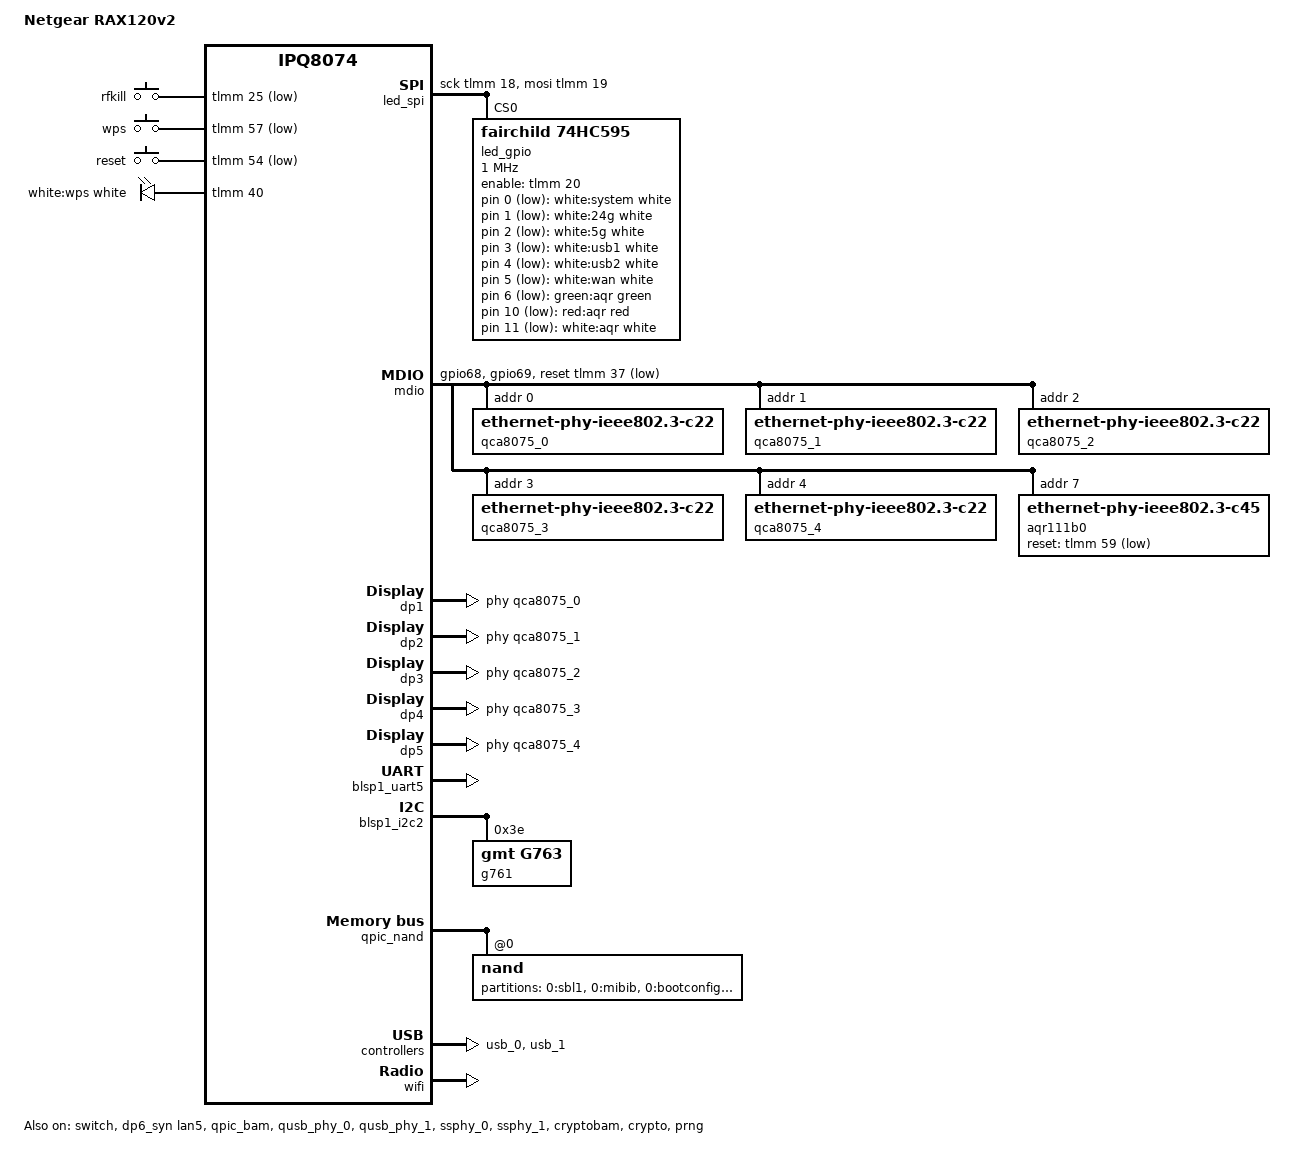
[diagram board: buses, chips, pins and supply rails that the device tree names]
// SPDX-License-Identifier: GPL-2.0-or-later OR MIT

/dts-v1/;

#include "ipq8074.dtsi"
#include "ipq8074-ess.dtsi"
#include "ipq8074-hk-cpu.dtsi"
#include "ipq8074-nss.dtsi"
#include <dt-bindings/input/input.h>
#include <dt-bindings/gpio/gpio.h>
#include <dt-bindings/leds/common.h>

/ {
	model = "Netgear RAX120v2";
	compatible = "netgear,rax120v2", "qcom,ipq8074";

	aliases {
		serial0 = &blsp1_uart5;

		led-running = &led_system_white;
		led-upgrade = &led_system_white;
		led-internet = &led_wan_white;
		label-mac-device = &dp1;
	};

	chosen {
		stdout-path = "serial0:115200n8";
		bootargs-append = " ubi.mtd=rootfs root=/dev/ubiblock0_0";
	};

	keys {
		compatible = "gpio-keys";

		rfkill {
			label = "rfkill";
			gpios = <&tlmm 25 GPIO_ACTIVE_LOW>;
			linux,code = <KEY_RFKILL>;
		};

		wps {
			label = "wps";
			gpios = <&tlmm 57 GPIO_ACTIVE_LOW>;
			linux,code = <KEY_WPS_BUTTON>;
		};

		reset {
			label = "reset";
			gpios = <&tlmm 54 GPIO_ACTIVE_LOW>;
			linux,code = <KEY_RESTART>;
		};
	};

	led_spi {
		compatible = "spi-gpio";
		#address-cells = <1>;
		#size-cells = <0>;

		sck-gpios = <&tlmm 18 GPIO_ACTIVE_HIGH>;
		mosi-gpios = <&tlmm 19 GPIO_ACTIVE_HIGH>;

		led_gpio: led_gpio@0 {
			compatible = "fairchild,74hc595";
			reg = <0>;
			gpio-controller;
			#gpio-cells = <2>;
			registers-number = <2>;
			enable-gpios = <&tlmm 20 GPIO_ACTIVE_HIGH>;
			spi-max-frequency = <1000000>;
		};
	};

	leds {
		compatible = "gpio-leds";

		led_system_white: system-white {
			label = "white:system";
			gpios = <&led_gpio 0 GPIO_ACTIVE_LOW>;
			color = <LED_COLOR_ID_WHITE>;
		};

		led_24g_white {
			label = "white:24g";
			gpios = <&led_gpio 1 GPIO_ACTIVE_LOW>;
			color = <LED_COLOR_ID_WHITE>;
			linux,default-trigger = "phy1radio";
		};

		led_5g_white {
			label = "white:5g";
			gpios = <&led_gpio 2 GPIO_ACTIVE_LOW>;
			color = <LED_COLOR_ID_WHITE>;
			linux,default-trigger = "phy0radio";
		};

		led_usb1_white {
			label = "white:usb1";
			gpios = <&led_gpio 3 GPIO_ACTIVE_LOW>;
			color = <LED_COLOR_ID_WHITE>;
		};

		led_usb2_white {
			label = "white:usb2";
			gpios = <&led_gpio 4 GPIO_ACTIVE_LOW>;
			color = <LED_COLOR_ID_WHITE>;
		};

		led_wan_white: wan-white {
			label = "white:wan";
			gpios = <&led_gpio 5 GPIO_ACTIVE_LOW>;
			color = <LED_COLOR_ID_WHITE>;
		};

		led_aqr_green {
			label = "green:aqr";
			gpios = <&led_gpio 6 GPIO_ACTIVE_LOW>;
			color = <LED_COLOR_ID_GREEN>;
		};

		led_aqr_red {
			label = "red:aqr";
			gpios = <&led_gpio 10 GPIO_ACTIVE_LOW>;
			color = <LED_COLOR_ID_RED>;
		};

		led_aqr_white {
			label = "white:aqr";
			gpios = <&led_gpio 11 GPIO_ACTIVE_LOW>;
			color = <LED_COLOR_ID_WHITE>;
		};

		led_wps_white {
			label = "white:wps";
			gpios = <&tlmm 40 GPIO_ACTIVE_HIGH>;
			color = <LED_COLOR_ID_WHITE>;
		};
	};
};

&tlmm {
	mdio_pins: mdio-pins {
		mdc {
			pins = "gpio68";
			function = "mdc";
			drive-strength = <8>;
			bias-pull-up;
		};

		mdio {
			pins = "gpio69";
			function = "mdio";
			drive-strength = <8>;
			bias-pull-up;
		};
	};
};

&mdio {
	status = "okay";

	pinctrl-0 = <&mdio_pins>;
	pinctrl-names = "default";
	reset-gpios = <&tlmm 37 GPIO_ACTIVE_LOW>;

	qca8075_0: ethernet-phy@0 {
		compatible = "ethernet-phy-ieee802.3-c22";
		reg = <0>;
	};

	qca8075_1: ethernet-phy@1 {
		compatible = "ethernet-phy-ieee802.3-c22";
		reg = <1>;
	};

	qca8075_2: ethernet-phy@2 {
		compatible = "ethernet-phy-ieee802.3-c22";
		reg = <2>;
	};

	qca8075_3: ethernet-phy@3 {
		compatible = "ethernet-phy-ieee802.3-c22";
		reg = <3>;
	};

	qca8075_4: ethernet-phy@4 {
		compatible = "ethernet-phy-ieee802.3-c22";
		reg = <4>;
	};

	aqr111b0: ethernet-phy@7 {
		compatible ="ethernet-phy-ieee802.3-c45";
		reg = <7>;
		reset-gpios = <&tlmm 59 GPIO_ACTIVE_LOW>;
	};
};

&switch {
	status = "okay";

	switch_lan_bmp = <0x3e>; /* lan port bitmap */
	switch_wan_bmp = <0x40>; /* wan port bitmap */
	switch_mac_mode = <0x0>; /* mac mode for uniphy instance0*/
	switch_mac_mode1 = <0xff>; /* mac mode for uniphy instance1*/
	switch_mac_mode2 = <0xd>; /* mac mode for uniphy instance2*/
	bm_tick_mode = <0>; /* bm tick mode */
	tm_tick_mode = <0>; /* tm tick mode */

	qcom,port_phyinfo {
		port@1 {
			port_id = <1>;
			phy_address = <0>;
		};
		port@2 {
			port_id = <2>;
			phy_address = <1>;
		};
		port@3 {
			port_id = <3>;
			phy_address = <2>;
		};
		port@4 {
			port_id = <4>;
			phy_address = <3>;
		};
		port@5 {
			port_id = <5>;
			phy_address = <4>;
		};
		port@6 {
			port_id = <6>;
			phy_address = <7>;
			compatible = "ethernet-phy-ieee802.3-c45";
			ethernet-phy-ieee802.3-c45;
		};
	};
};

&edma {
	status = "okay";
};

&dp1 {
	status = "okay";
	phy-handle = <&qca8075_0>;
	label = "lan4";
	nvmem-cells = <&macaddr_dp1>;
	nvmem-cell-names = "mac-address";
};

&dp2 {
	status = "okay";
	phy-handle = <&qca8075_1>;
	label = "lan3";
	nvmem-cells = <&macaddr_dp2>;
	nvmem-cell-names = "mac-address";
};

&dp3 {
	status = "okay";
	phy-handle = <&qca8075_2>;
	label = "lan2";
	nvmem-cells = <&macaddr_dp3>;
	nvmem-cell-names = "mac-address";
};

&dp4 {
	status = "okay";
	phy-handle = <&qca8075_3>;
	label = "lan1";
	nvmem-cells = <&macaddr_dp4>;
	nvmem-cell-names = "mac-address";
};

&dp5 {
	status = "okay";
	phy-handle = <&qca8075_4>;
	label = "wan";
	nvmem-cells = <&macaddr_dp5>;
	nvmem-cell-names = "mac-address";
};

&dp6_syn {
	status = "okay";
	phy-handle = <&aqr111b0>;
	label = "lan5";
	nvmem-cells = <&macaddr_dp6_syn>;
	nvmem-cell-names = "mac-address";
};

&blsp1_uart5 {
	status = "okay";
};

&blsp1_i2c2 {
	status = "okay";

	g761@3e {
		compatible = "gmt,g763";
		reg = <0x3e>;
		clocks =<&sleep_clk>;
		fan_gear_mode = <0>;
		fan_start = <1>;
		pwm_polarity = <0>;
	};
};

&qpic_bam {
	status = "okay";
};

&qpic_nand {
	status = "okay";

	nand@0 {
		reg = <0>;
		nand-ecc-strength = <4>;
		nand-ecc-step-size = <512>;
		nand-bus-width = <8>;

		partitions {
			compatible = "fixed-partitions";
			#address-cells = <1>;
			#size-cells = <1>;

			partition@0 {
				label = "0:sbl1";
				reg = <0x00 0x100000>;
				read-only;
			};

			partition@100000 {
				label = "0:mibib";
				reg = <0x100000 0x100000>;
				read-only;
			};

			partition@200000 {
				label = "0:bootconfig";
				reg = <0x200000 0x80000>;
				read-only;
			};

			partition@280000 {
				label = "0:bootconfig_1";
				reg = <0x280000 0x80000>;
				read-only;
			};

			partition@300000 {
				label = "0:qsee";
				reg = <0x300000 0x300000>;
				read-only;
			};

			partition@600000 {
				label = "0:qsee_1";
				reg = <0x600000 0x300000>;
				read-only;
			};

			partition@900000 {
				label = "0:devcfg";
				reg = <0x900000 0x80000>;
				read-only;
			};

			partition@980000 {
				label = "0:devcfg_1";
				reg = <0x980000 0x80000>;
				read-only;
			};

			partition@a00000 {
				label = "0:apdp";
				reg = <0xa00000 0x80000>;
				read-only;
			};

			partition@a80000 {
				label = "0:apdp_1";
				reg = <0xa80000 0x80000>;
				read-only;
			};

			partition@b00000 {
				label = "0:rpm";
				reg = <0xb00000 0x80000>;
				read-only;
			};

			partition@b80000 {
				label = "0:rpm_1";
				reg = <0xb80000 0x80000>;
				read-only;
			};

			partition@c00000 {
				label = "0:cdt";
				reg = <0xc00000 0x80000>;
				read-only;
			};

			partition@c80000 {
				label = "0:cdt_1";
				reg = <0xc80000 0x80000>;
				read-only;
			};

			partition@d00000 {
				label = "0:appsblenv";
				reg = <0xd00000 0x80000>;
			};

			partition@d80000 {
				label = "0:appsbl";
				reg = <0xd80000 0x100000>;
				read-only;
			};

			partition@e80000 {
				label = "0:appsbl_1";
				reg = <0xe80000 0x100000>;
				read-only;
			};

			partition@f80000 {
				label = "0:art";
				reg = <0xf80000 0x80000>;
				read-only;
			};

			partition@1000000 {
				label = "0:art.bak";
				reg = <0x1000000 0x0080000>;
				read-only;
			};

			partition@1080000 {
				label = "config";
				reg = <0x1080000 0x0100000>;
				read-only;
			};

			partition@1180000 {
				label = "boarddata1";
				reg = <0x1180000 0x0100000>;
				read-only;

				compatible = "nvmem-cells";
				#address-cells = <1>;
				#size-cells = <1>;

				macaddr_dp1: macaddr@0 {
					reg = <0x0 0x6>;
				};

				macaddr_dp2: macaddr@1 {
					reg = <0x6 0x6>;
				};

				macaddr_dp3: macaddr@2 {
					reg = <0xc 0x6>;
				};

				macaddr_dp4: macaddr@3 {
					reg = <0x12 0x6>;
				};

				macaddr_dp5: macaddr@4 {
					reg = <0x18 0x6>;
				};

				macaddr_dp6_syn: macaddr@5 {
					reg = <0x1e 0x6>;
				};
			};

			partition@1280000 {
				label = "boarddata2";
				reg = <0x1280000 0x0100000>;
				read-only;
			};

			partition@1380000 {
				label = "pot";
				reg = <0x1380000 0x0100000>;
				read-only;
			};

			partition@1480000 {
				label = "dnidata";
				reg = <0x1480000 0x0500000>;
				read-only;
			};

			partition@1980000 {
				label = "kernel";
				reg = <0x1980000 0x1d00000>;
			};

			partition@7e00000 {
				label = "ethphyfw";
				reg = <0x7e00000 0x80000>;
			};

			partition@e8800000 {
				label = "rootfs";
				reg = <0xe880000 0x11780000>;
			};
		};
	};
};

&qusb_phy_0 {
	status = "okay";
};

&qusb_phy_1 {
	status = "okay";
};

&ssphy_0 {
	status = "okay";
};

&ssphy_1 {
	status = "okay";
};

&usb_0 {
	status = "okay";
};

&usb_1 {
	status = "okay";
};

&wifi{
	status = "okay";

	qcom,ath11k-calibration-variant = "Netgear-RAX120v2";
};

&cryptobam {
	status = "okay";
};

&crypto {
	status = "okay";
};

&prng {
	status = "okay";
};
